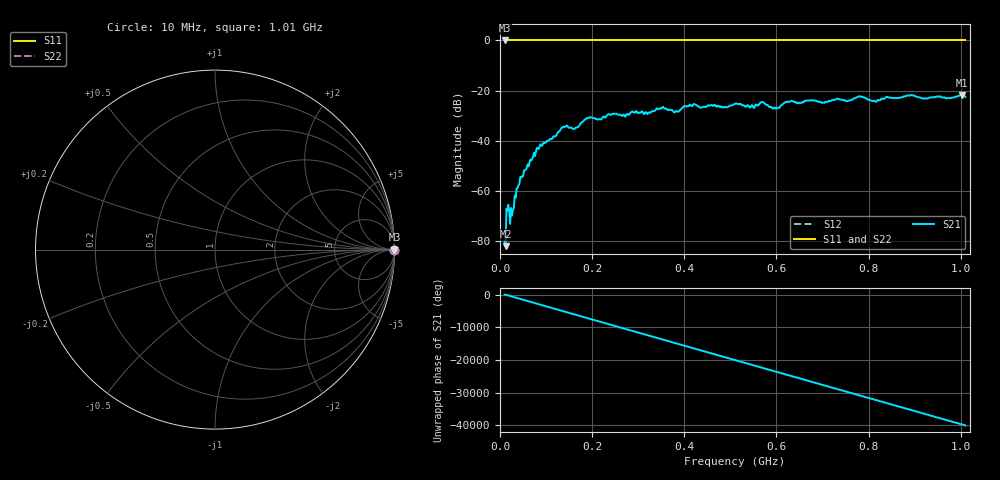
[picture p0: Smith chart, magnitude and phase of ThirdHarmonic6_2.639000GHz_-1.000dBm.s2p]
! 8/17/2025 5:57:09 AM
! C:\ANRITSUVNA\TEMP\TEMP.S2P
! CHANNEL.1
! TR.MEASUREMENT
! RAW.DATA
! RF.CORRECTION.OFF
! AVERAGING.OFF
! IF.BANDWIDTH: 5KHZ
! SWEEPTYPE:  FREQ.SWEEP(Linear)
! Reference Plane Port Info
! PORT:  PORT1  PORT2
! DISTANCE:  0  m  0  m
! TIME:  0  s  0  s
! PHASE.OFFSET:  0  deg.  0  deg.
! LOSS:  0  dB  0  dB
! REF.LOSS:  0  dB  0  dB
! REF.FREQ:  0  Hz  0  Hz
! Power Info
! POWER:  -20  dBm  -20  dBm
! EFF.POWER:  -20  dBm  -20  dBm
! SOURCE.ATTEN:  0  dB  0  dB
! TEST.ATTEN:  0  dB  0  dB
# GHZ S RI R 50.0
! FREQ.GHZ  S11RE  S11IM  S21RE  S21IM  S12RE  S12IM  S22RE  S22IM
!; PortSelection: Port_12
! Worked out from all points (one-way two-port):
!   501 points, 10 MHz to 1.01 GHz, reference 50 ohm
!   highest |S21| = -21.72 dB at 1.002 GHz (marker M1); lowest = -82.2 dB at 12 MHz (marker M2)
!   lowest |S11| = 0.0 dB at 10 MHz (marker M3)
!   |S11| at or under -10 dB: nowhere
!   |S22| runs from 0.0 to 0.0 dB; largest |S21 - S12| = 1.1
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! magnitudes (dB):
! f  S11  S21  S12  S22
! 10 MHz  0.0  -80.1  0.0  0.0
! 12 MHz  0.0  -82.2  0.0  0.0
! 18 MHz  0.0  -65.6  0.0  0.0
! 26 MHz  0.0  -70.0  0.0  0.0
! 36 MHz  0.0  -59.2  0.0  0.0
! 48 MHz  0.0  -54.3  0.0  0.0
! 84 MHz  0.0  -43.4  0.0  0.0
! 136 MHz  0.0  -34.7  0.0  0.0
! 162 MHz  0.0  -35.3  0.0  0.0
! 178 MHz  0.0  -32.7  0.0  0.0
! 344 MHz  0.0  -27.5  0.0  0.0
! 382 MHz  0.0  -28.2  0.0  0.0
! 422 MHz  0.0  -25.5  0.0  0.0
! 510 MHz  0.0  -25.3  0.0  0.0
! 548 MHz  0.0  -26.0  0.0  0.0
! 570 MHz  0.0  -24.5  0.0  0.0
! 596 MHz  0.0  -26.8  0.0  0.0
! 622 MHz  0.0  -24.6  0.0  0.0
! 678 MHz  0.0  -24.0  0.0  0.0
! 844 MHz  0.0  -22.8  0.0  0.0
! 1.002 GHz  0.0  -21.7  0.0  0.0
! 1.01 GHz  0.0  -22.6  0.0  0.0
